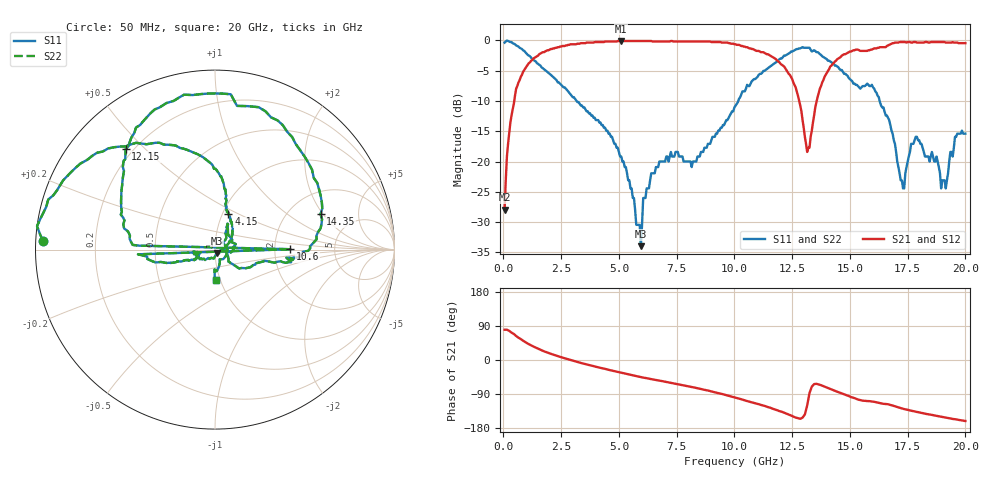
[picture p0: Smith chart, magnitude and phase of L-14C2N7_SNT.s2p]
#	mhz	s	ma	r	50
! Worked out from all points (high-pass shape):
!   400 points, 50 MHz to 20 GHz, reference 50 ohm
!   highest |S21| = -0.09 dB at 5.1 GHz (marker M1); lowest = -28.0 dB at 50 MHz (marker M2)
!   |S21| within 3 dB of the highest: 1.277 GHz to 11.8 GHz (10.52 GHz wide, 161 % of centre); 14.45 GHz to end of sweep
!   lowest |S11| = -34.0 dB at 5.95 GHz (marker M3), VSWR 1.04, Z = 50.8 - j1.84 ohm
!   |S11| at or under -10 dB: 3.169 GHz to 10.17 GHz (6.997 GHz wide, 105 % of centre); 16.29 GHz to end of sweep
!   |S22| runs from -34.0 to 0.0 dB; largest |S21 - S12| = 0
!   S11 on the Smith chart (normalised r, x): 50 MHz: 0.02, +0.03; 4.15 GHz: 1.07, +0.44; 10.6 GHz: 2.45, +0.01; 12.15 GHz: 0.17, +0.44; 14.35 GHz: 2.95, +1.89; 20 GHz: 0.95, -0.33
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50  0.96 177.1  0.04 79.8  0.04 79.8  0.96 177.1
300  0.97 165.8  0.21 74.5  0.21 74.5  0.97 165.8
850  0.83 138.8  0.55 50.9  0.55 50.9  0.83 138.8
3400  0.29 77.7  0.95 -8.6  0.95 -8.6  0.29 77.7
4150  0.21 69.1  0.97 -20.0  0.97 -20.0  0.21 69.1
5100  0.11 33.7  0.99 -33.7  0.99 -33.7  0.11 33.7
5950  0.02 -64.9  0.99 -44.9  0.99 -44.9  0.02 -64.9
6050  0.05 -97.8  0.99 -46.5  0.99 -46.5  0.05 -97.8
6700  0.09 -146.6  0.98 -53.9  0.98 -53.9  0.09 -146.6
10050  0.29 -165.5  0.93 -99.4  0.93 -99.4  0.29 -165.5
10550  0.43 -176.5  0.88 -108.4  0.88 -108.4  0.43 -176.5
10600  0.42 0.3  0.87 -109.2  0.87 -109.2  0.42 0.3
10650  0.42 177.0  0.86 -109.9  0.86 -109.9  0.42 177.0
12150  0.75 131.5  0.61 -139.1  0.61 -139.1  0.75 131.5
13150  0.87 90.0  0.12 -120.1  0.12 -120.1  0.87 90.0
13350  0.81 81.3  0.18 -70.3  0.18 -70.3  0.81 81.3
14350  0.62 18.5  0.67 -81.4  0.67 -81.4  0.62 18.5
16700  0.22 -26.6  0.92 -117.6  0.92 -117.6  0.22 -26.6
17300  0.06 19.9  0.97 -128.5  0.97 -128.5  0.06 19.9
17850  0.16 64.3  0.97 -136.5  0.97 -136.5  0.16 64.3
19150  0.06 -64.4  0.96 -152.0  0.96 -152.0  0.06 -64.4
20000  0.17 -88.2  0.95 -160.9  0.95 -160.9  0.17 -88.2
